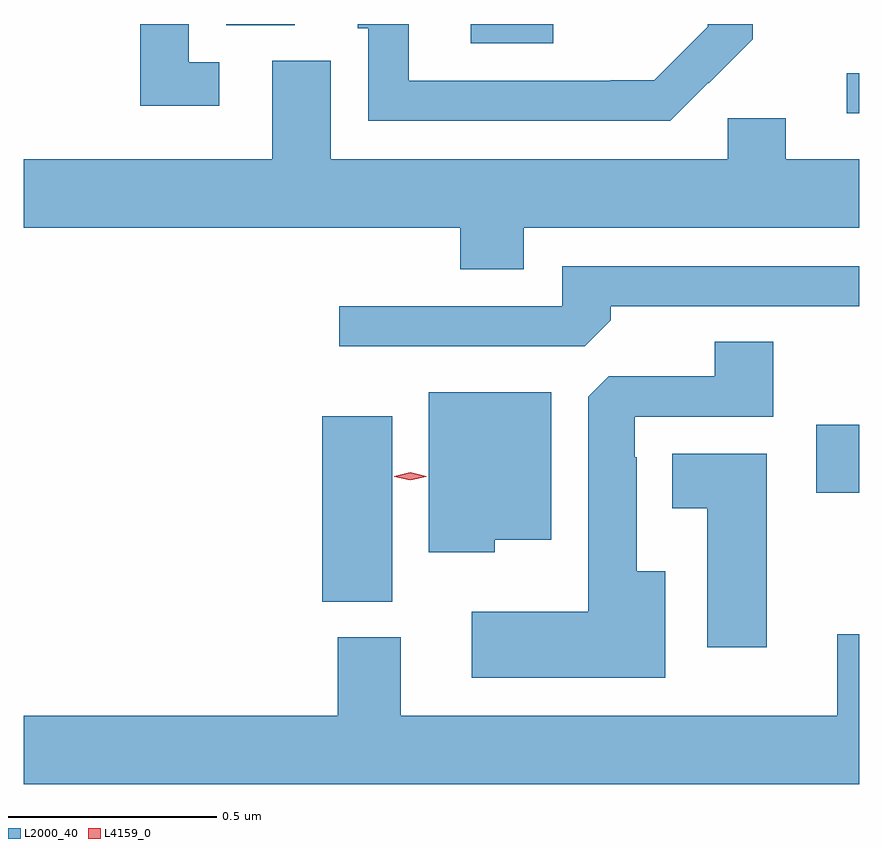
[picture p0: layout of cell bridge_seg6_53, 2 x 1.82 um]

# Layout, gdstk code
import gdstk
lib = gdstk.Library(unit=1e-6, precision=1e-09)
def R(c, l, rs):  # rectangles x0, y0, x1, y1
    for r in rs: c.add(gdstk.rectangle(r[:2], r[2:], *l))
def P(c, l, *ps):  # polygons
    for p in ps: c.add(gdstk.Polygon(p, *l))
L2000_40 = (2000, 40)
L4159_0 = (4159, 0)

bridge_seg6_53 = lib.new_cell('bridge_seg6_53')
R(bridge_seg6_53, L2000_40, [(1090.847,989.065,1091.014,989.509), (1092.03,989.326,1092.132,989.488), (1092.102,990.234,1092.132,990.33), (1091.202,990.402,1091.4,990.448), (1090.616,990.445,1090.78,990.448)])
P(bridge_seg6_53, L2000_40, [(1090.6,990.357),(1090.527,990.357),(1090.527,990.448),(1090.411,990.448),(1090.411,990.252),(1090.6,990.252)],
  [(1091.771,990.307),(1091.772,990.306),(1091.877,990.411),(1091.877,990.448),(1091.769,990.448),(1091.769,990.441),(1091.641,990.313),(1091.537,990.313),(1091.537,990.312),(1091.053,990.312),(1091.053,990.448),(1090.931,990.448),(1090.931,990.438),(1090.956,990.438),(1090.956,990.216),(1091.68,990.216)],
  [(1091.329,989.96),(1092.132,989.96),(1092.132,990.124),(1091.956,990.124),(1091.956,990.222),(1091.817,990.222),(1091.817,990.124),(1090.867,990.124),(1090.867,990.36),(1090.727,990.36),(1090.727,990.124),(1090.132,990.124),(1090.132,989.96),(1091.177,989.96),(1091.177,989.861),(1091.329,989.861)],
  [(1091.537,989.738),(1091.537,989.772),(1092.132,989.772),(1092.132,989.868),(1091.421,989.868),(1091.421,989.772),(1090.887,989.772),(1090.887,989.676),(1091.475,989.676)],
  [(1091.668,989.137),(1091.599,989.137),(1091.599,989.411),(1091.595,989.411),(1091.595,989.508),(1091.926,989.508),(1091.926,989.687),(1091.786,989.687),(1091.786,989.604),(1091.532,989.604),(1091.483,989.555),(1091.483,989.041),(1091.205,989.041),(1091.205,988.883),(1091.668,988.883)],
  [(1091.26,989.213),(1091.395,989.213),(1091.395,989.566),(1091.102,989.566),(1091.102,989.183),(1091.26,989.183)],
  [(1091.911,989.419),(1091.684,989.419),(1091.684,989.288),(1091.768,989.288),(1091.768,988.956),(1091.911,988.956)],
  [(1092.132,988.987),(1092.08,988.987),(1092.08,988.792),(1091.035,988.792),(1091.035,988.98),(1090.883,988.98),(1090.883,988.792),(1090.132,988.792),(1090.132,988.628),(1092.132,988.628)])
P(bridge_seg6_53, L4159_0, [(1091.057,989.355),(1091.019,989.364),(1091.019,989.364),(1091.019,989.365),(1091.057,989.375),(1091.095,989.365),(1091.095,989.365),(1091.095,989.364)])

lib.write_gds('bridge_seg6_53.gds')
